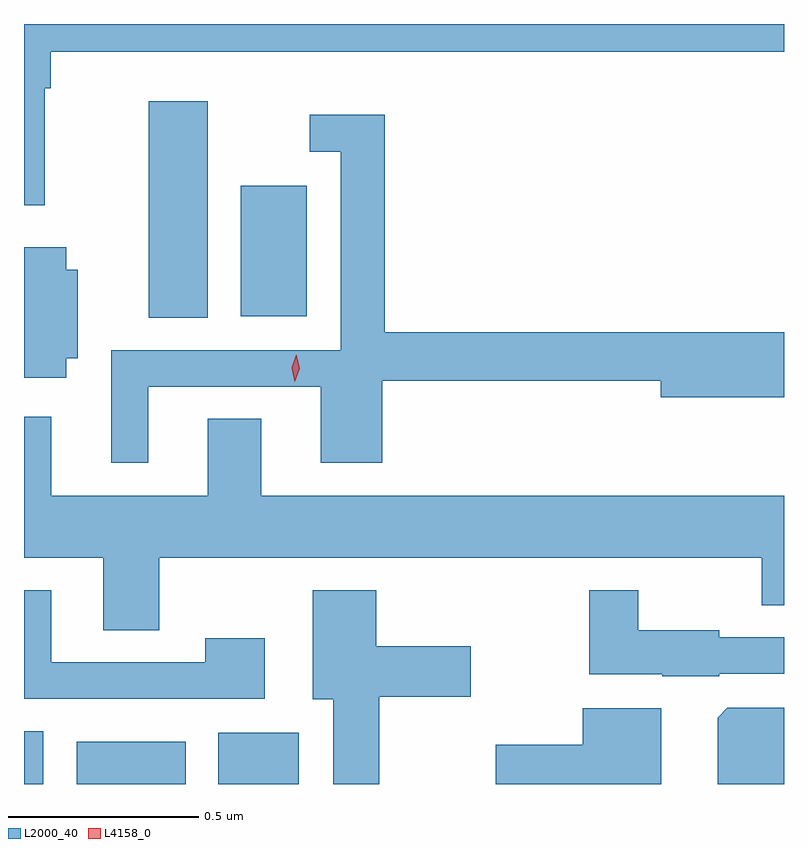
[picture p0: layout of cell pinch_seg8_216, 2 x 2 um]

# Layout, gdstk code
import gdstk
lib = gdstk.Library(unit=1e-6, precision=1e-09)
def R(c, l, rs):  # rectangles x0, y0, x1, y1
    for r in rs: c.add(gdstk.rectangle(r[:2], r[2:], *l))
def P(c, l, *ps):  # polygons
    for p in ps: c.add(gdstk.Polygon(p, *l))
L2000_40 = (2000, 40)
L4158_0 = (4158, 0)

pinch_seg8_216 = lib.new_cell('pinch_seg8_216')
R(pinch_seg8_216, L2000_40, [(664.279,1114.573,664.33,1114.712), (664.418,1114.573,664.705,1114.684), (664.79,1114.573,665.002,1114.708), (664.607,1115.8,664.762,1116.37), (664.85,1115.804,665.023,1116.148)])
P(pinch_seg8_216, L2000_40, [(664.334,1116.404),(664.349,1116.404),(664.349,1116.5),(666.279,1116.5),(666.279,1116.573),(664.279,1116.573),(664.279,1116.096),(664.334,1116.096)],
  [(664.606,1115.619),(665.06,1115.619),(665.06,1115.418),(665.222,1115.418),(665.222,1115.634),(665.954,1115.634),(665.954,1115.591),(666.279,1115.591),(666.279,1115.762),(665.228,1115.762),(665.228,1116.334),(665.031,1116.334),(665.031,1116.237),(665.112,1116.237),(665.112,1115.715),(664.508,1115.715),(664.508,1115.418),(664.606,1115.418)],
  [(664.39,1115.693),(664.42,1115.693),(664.42,1115.926),(664.39,1115.926),(664.39,1115.986),(664.279,1115.986),(664.279,1115.642),(664.39,1115.642)],
  [(664.635,1115.168),(666.22,1115.168),(666.22,1115.044),(666.279,1115.044),(666.279,1115.332),(664.903,1115.332),(664.903,1115.534),(664.763,1115.534),(664.763,1115.332),(664.351,1115.332),(664.351,1115.539),(664.279,1115.539),(664.279,1115.168),(664.487,1115.168),(664.487,1114.978),(664.635,1114.978)],
  [(666.108,1114.863),(666.279,1114.863),(666.279,1114.959),(666.108,1114.959),(666.108,1114.978),(665.896,1114.978),(665.896,1115.083),(665.767,1115.083),(665.767,1114.862),(665.958,1114.862),(665.958,1114.856),(666.108,1114.856)],
  [(665.214,1114.802),(665.455,1114.802),(665.455,1114.936),(665.206,1114.936),(665.206,1115.083),(665.039,1115.083),(665.039,1114.796),(665.093,1114.796),(665.093,1114.573),(665.214,1114.573)],
  [(664.912,1114.957),(664.756,1114.957),(664.756,1114.893),(664.351,1114.893),(664.351,1115.083),(664.279,1115.083),(664.279,1114.797),(664.912,1114.797)],
  [(666.279,1114.774),(666.13,1114.774),(666.104,1114.748),(666.104,1114.573),(666.279,1114.573)],
  [(665.956,1114.772),(665.75,1114.772),(665.75,1114.676),(665.52,1114.676),(665.52,1114.573),(665.956,1114.573)])
P(pinch_seg8_216, L4158_0, [(664.992,1115.631),(664.992,1115.631),(664.984,1115.668),(664.995,1115.703),(664.995,1115.703),(664.995,1115.703),(665.004,1115.667),(664.992,1115.631)])

lib.write_gds('pinch_seg8_216.gds')
